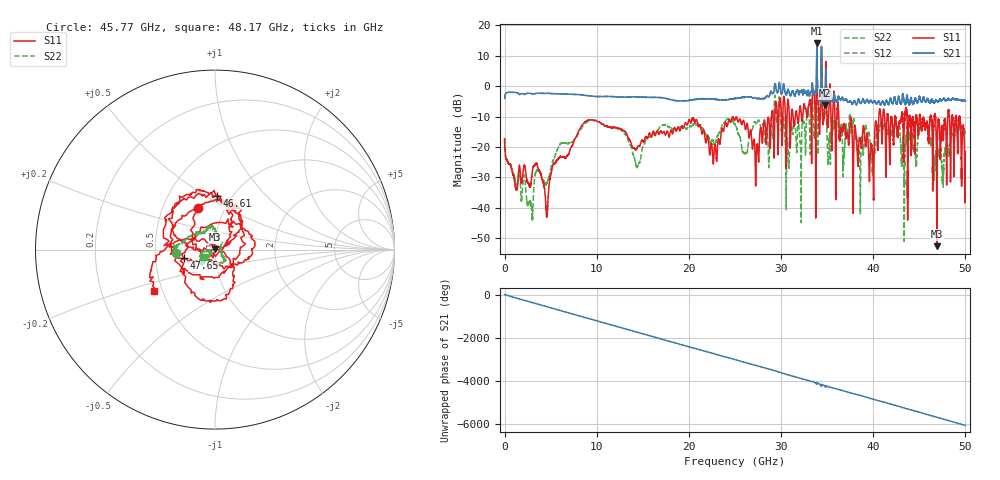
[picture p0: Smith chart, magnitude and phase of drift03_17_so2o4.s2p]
!Created with skrf (http://scikit-rf.org).
# Hz S RI R 50.0
!freq ReS11 ImS11 ReS21 ImS21 ReS12 ImS12 ReS22 ImS22
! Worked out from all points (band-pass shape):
!   10001 points, 300 kHz to 50 GHz, reference 50 ohm
!   highest |S21| = 14.08 dB at 33.88 GHz (marker M1); lowest = -6.3 dB at 34.79 GHz (marker M2)
!   |S21| within 3 dB of the highest: 33.86969 GHz to 33.88888 GHz (19.19 MHz wide, 0.0566 % of centre); 34.37695 GHz to 34.39079 GHz (13.84 MHz wide, 0.0403 % of centre)
!   lowest |S11| = -52.6 dB at 46.9 GHz (marker M3), VSWR 1.00, Z = 50 + j0.23 ohm
!   |S11| at or under -10 dB: start of sweep to 28.94 GHz; 36.27 GHz to 40.61 GHz (4.343 GHz wide, 11.3 % of centre); 46.75 GHz to 48.09 GHz (1.337 GHz wide, 2.82 % of centre) (the widest 3 of 64)
!   |S22| runs from -51.0 to 10.5 dB; largest |S21 - S12| = 0.81
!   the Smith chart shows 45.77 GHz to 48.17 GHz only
!   S11 on the Smith chart (normalised r, x): 45.77 GHz: 0.75, +0.37; 46.61 GHz: 0.85, +0.56; 47.65 GHz: 0.70, -0.07; 48.17 GHz: 0.45, -0.25
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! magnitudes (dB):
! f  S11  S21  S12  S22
! 300 kHz  -17.4  -4.0  -4.1  -17.1
! 2.825 GHz  -32.6  -2.4  -2.4  -38.5
! 4.565 GHz  -42.2  -2.3  -2.4  -32.1
! 8.335 GHz  -13.1  -2.8  -2.8  -13.9
! 14.43 GHz  -20.0  -3.5  -3.5  -26.4
! 16.67 GHz  -15.5  -3.7  -3.7  -14.3
! 22.82 GHz  -19.3  -4.3  -4.3  -19.1
! 25 GHz  -11.0  -4.0  -4.0  -12.5
! 27.39 GHz  -19.3  -4.1  -4.1  -12.3
! 29.6 GHz  -10.4  -2.0  -2.1  -11.7
! 30.7 GHz  -5.6  -1.4  -1.5  -17.2
! 33.34 GHz  -13.8  -0.6  -0.6  -7.4
! 33.88 GHz  15.1  14.1  13.7  10.5
! 34.79 GHz  -3.2  -6.3  -5.0  -8.7
! 39.81 GHz  -19.2  -5.0  -4.9  -23.9
! 41.67 GHz  -12.3  -6.0  -6.0  -15.3
! 45.77 GHz  -12.1  -5.0  -5.1  -13.2
! 46.61 GHz  -10.5  -5.5  -5.5  -28.2
! 46.9 GHz  -52.6  -4.9  -4.8  -22.1
! 47.65 GHz  -14.8  -4.0  -4.0  -26.3
! 48.17 GHz  -7.8  -4.1  -4.1  -22.7
! 50 GHz  -21.5  -4.8  -4.9  -15.0
